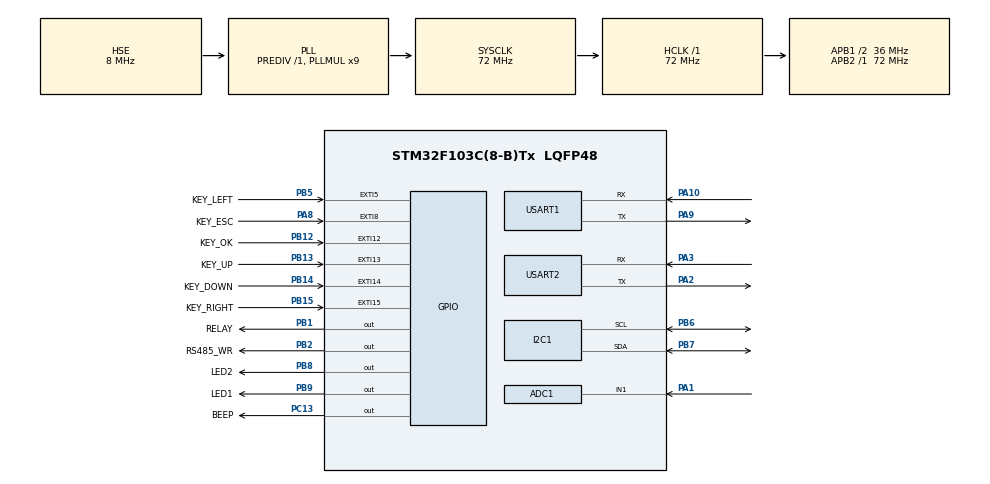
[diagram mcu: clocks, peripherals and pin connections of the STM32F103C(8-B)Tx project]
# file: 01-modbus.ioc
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ADC1.Channel-6\#ChannelRegularConversion=ADC_CHANNEL_TEMPSENSOR
ADC1.NbrOfConversionFlag=1
ADC1.Rank-6\#ChannelRegularConversion=1
ADC1.SamplingTime-6\#ChannelRegularConversion=ADC_SAMPLETIME_239CYCLES_5
ADC1.master=1
Mcu.Family=STM32F1
Mcu.Name=STM32F103C(8-B)Tx
Mcu.Package=LQFP48
NVIC.EXTI15_10_IRQn=true\:0\:0\:true\:false\:true\:true\:true\:true
NVIC.EXTI9_5_IRQn=true\:0\:0\:true\:false\:true\:true\:true\:true
NVIC.PriorityGroup=NVIC_PRIORITYGROUP_4
NVIC.TIM1_UP_IRQn=true\:0\:0\:false\:false\:true\:true\:true\:true
NVIC.TIM3_IRQn=true\:2\:0\:true\:false\:false\:true\:true\:true
NVIC.USART2_IRQn=true\:0\:0\:false\:false\:false\:true\:true\:true
PA1.Signal=ADCx_IN1
PA10.Mode=Asynchronous
PA10.Signal=USART1_RX
PA13.Mode=Serial_Wire
PA13.Signal=SYS_JTMS-SWDIO
PA14.Mode=Serial_Wire
PA14.Signal=SYS_JTCK-SWCLK
PA2.Mode=Asynchronous
PA2.Signal=USART2_TX
PA3.Mode=Asynchronous
PA3.Signal=USART2_RX
PA8.GPIO_Label=KEY_ESC
PA8.GPIO_ModeDefaultEXTI=GPIO_MODE_IT_FALLING
PA8.GPIO_PuPd=GPIO_PULLUP
PA8.Signal=GPXTI8
PA9.Mode=Asynchronous
PA9.Signal=USART1_TX
PB1.GPIO_Label=RELAY
PB1.Signal=GPIO_Output
PB12.GPIO_Label=KEY_OK
PB12.GPIO_ModeDefaultEXTI=GPIO_MODE_IT_FALLING
PB12.GPIO_PuPd=GPIO_PULLUP
PB12.Signal=GPXTI12
PB13.GPIO_Label=KEY_UP
PB13.GPIO_ModeDefaultEXTI=GPIO_MODE_IT_FALLING
PB13.GPIO_PuPd=GPIO_PULLUP
PB13.Signal=GPXTI13
PB14.GPIO_Label=KEY_DOWN
PB14.GPIO_ModeDefaultEXTI=GPIO_MODE_IT_FALLING
PB14.GPIO_PuPd=GPIO_PULLUP
PB14.Signal=GPXTI14
PB15.GPIO_Label=KEY_RIGHT
PB15.GPIO_ModeDefaultEXTI=GPIO_MODE_IT_FALLING
PB15.GPIO_PuPd=GPIO_PULLUP
PB15.Signal=GPXTI15
PB2.GPIO_Label=RS485_WR
PB2.GPIO_Speed=GPIO_SPEED_FREQ_MEDIUM
PB2.Signal=GPIO_Output
PB5.GPIO_Label=KEY_LEFT
PB5.GPIO_ModeDefaultEXTI=GPIO_MODE_IT_FALLING
PB5.GPIO_PuPd=GPIO_PULLUP
PB5.Signal=GPXTI5
PB6.Mode=I2C
PB6.Signal=I2C1_SCL
PB7.Mode=I2C
PB7.Signal=I2C1_SDA
PB8.GPIO_Label=LED2
PB8.PinState=GPIO_PIN_SET
PB8.Signal=GPIO_Output
PB9.GPIO_Label=LED1
PB9.PinState=GPIO_PIN_SET
PB9.Signal=GPIO_Output
PC13-TAMPER-RTC.GPIO_Label=BEEP
PC13-TAMPER-RTC.Signal=GPIO_Output
PC14-OSC32_IN.Mode=LSE-External-Oscillator
PC14-OSC32_IN.Signal=RCC_OSC32_IN
PC15-OSC32_OUT.Mode=LSE-External-Oscillator
PC15-OSC32_OUT.Signal=RCC_OSC32_OUT
PD0-OSC_IN.Mode=HSE-External-Oscillator
PD0-OSC_IN.Signal=RCC_OSC_IN
PD1-OSC_OUT.Mode=HSE-External-Oscillator
PD1-OSC_OUT.Signal=RCC_OSC_OUT
ProjectManager.HeapSize=0x200
ProjectManager.StackSize=0x400
ProjectManager.TargetToolchain=MDK-ARM V5.32
RCC.ADCPresc=RCC_ADCPCLK2_DIV6
RCC.AHBFreq_Value=72000000
RCC.APB1CLKDivider=RCC_HCLK_DIV2
RCC.APB1Freq_Value=36000000
RCC.APB1TimFreq_Value=72000000
RCC.APB2Freq_Value=72000000
RCC.APB2TimFreq_Value=72000000
RCC.HCLKFreq_Value=72000000
RCC.PLLMUL=RCC_PLL_MUL9
RCC.PLLSourceVirtual=RCC_PLLSOURCE_HSE
RCC.RTCClockSelection=RCC_RTCCLKSOURCE_LSE
RCC.SYSCLKFreq_VALUE=72000000
RCC.SYSCLKSource=RCC_SYSCLKSOURCE_PLLCLK
RCC.USBFreq_Value=72000000
SH.ADCx_IN1.0=ADC1_IN1,IN1
TIM1.AutoReloadPreload=TIM_AUTORELOAD_PRELOAD_ENABLE
TIM1.Period=5000
TIM1.Prescaler=7200-1
TIM3.AutoReloadPreload=TIM_AUTORELOAD_PRELOAD_ENABLE
TIM3.Period=100
TIM3.Prescaler=3599
USART1.VirtualMode=VM_ASYNC
USART2.VirtualMode=VM_ASYNC
VP_ADC1_TempSens_Input.Mode=IN-TempSens
VP_TIM1_VS_ClockSourceINT.Mode=Internal
VP_TIM3_VS_ClockSourceINT.Mode=Internal
board=custom

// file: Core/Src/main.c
/* USER CODE BEGIN Header */
/**
  ******************************************************************************
  * @file           : main.c
  * @brief          : Main program body
  ******************************************************************************
  * @attention
  *
  * Copyright (c) 2025 STMicroelectronics.
  * All rights reserved.
  *
  * This software is licensed under terms that can be found in the LICENSE file
  * in the root directory of this software component.
  * If no LICENSE file comes with this software, it is provided AS-IS.
  *
  ******************************************************************************
  */
/* USER CODE END Header */
#include "main.h"
#include "adc.h"
#include "i2c.h"
#include "tim.h"
#include "usart.h"
#include "gpio.h"

/* USER CODE BEGIN Includes */
#include <stdio.h>
#include "oled.h"
#include "aht20.h"
#include "ina226.h"
#include "mb.h"
#include "modbus.h"
/* USER CODE END Includes */

void SystemClock_Config(void);

int main(void)
{

  /* MCU Configuration--------------------------------------------------------*/

  /* Reset of all peripherals, Initializes the Flash interface and the Systick. */
  HAL_Init();

  /* Configure the system clock */
  SystemClock_Config();

  /* Initialize all configured peripherals */
  MX_GPIO_Init();
  MX_USART1_UART_Init();
  MX_I2C1_Init();
  MX_ADC1_Init();
  MX_TIM3_Init();
  MX_USART2_UART_Init();
  MX_TIM1_Init();
  /* USER CODE BEGIN 2 */
	printf("Uart1 init is ok\n");
	printf("Modbus Test\n");

	//EEPROM_Test();
	OLED_Init();
	OLED_CLS(); // 清除屏幕显示
	OLED_ShowStr(16,0, (unsigned char*)"Modbus Control", 2);
	AHT20_Init();
	INA226_Init();

	HAL_TIM_Base_Start_IT(&htim1);

	Modbus_Init();
  /* USER CODE END 2 */

  /* Infinite loop */
  /* USER CODE BEGIN WHILE */
  while (1)
  {
		//LED_Test();
		//BEEP_Test();
		//RELAY_Test();
		//KEY_Test();
		//OLED_Test();
		//AHT20_Test();
		//INA226_Test();
		//IWDG_Test();
		//RTC_Test();
		//ADC_VR_Test();
		//ADC_CPU_Test();
		//ADC_VR_CPU_Test();
		eMBPoll();// 轮训查询
		Modbus_Parse(); // 500ms 周期性刷新

    /* USER CODE END WHILE */

  }
}

void SystemClock_Config(void)
{
  RCC_OscInitTypeDef RCC_OscInitStruct = {0};
  RCC_ClkInitTypeDef RCC_ClkInitStruct = {0};
  RCC_PeriphCLKInitTypeDef PeriphClkInit = {0};

  /** Initializes the RCC Oscillators according to the specified parameters
  * in the RCC_OscInitTypeDef structure.
  */
  RCC_OscInitStruct.OscillatorType = RCC_OSCILLATORTYPE_HSE;
  RCC_OscInitStruct.HSEState = RCC_HSE_ON;
  RCC_OscInitStruct.HSEPredivValue = RCC_HSE_PREDIV_DIV1;
  RCC_OscInitStruct.HSIState = RCC_HSI_ON;
  RCC_OscInitStruct.PLL.PLLState = RCC_PLL_ON;
  RCC_OscInitStruct.PLL.PLLSource = RCC_PLLSOURCE_HSE;
  RCC_OscInitStruct.PLL.PLLMUL = RCC_PLL_MUL9;
  if (HAL_RCC_OscConfig(&RCC_OscInitStruct) != HAL_OK)
  {
    Error_Handler();
  }

  /** Initializes the CPU, AHB and APB buses clocks
  */
  RCC_ClkInitStruct.ClockType = RCC_CLOCKTYPE_HCLK|RCC_CLOCKTYPE_SYSCLK
                              |RCC_CLOCKTYPE_PCLK1|RCC_CLOCKTYPE_PCLK2;
  RCC_ClkInitStruct.SYSCLKSource = RCC_SYSCLKSOURCE_PLLCLK;
  RCC_ClkInitStruct.AHBCLKDivider = RCC_SYSCLK_DIV1;
  RCC_ClkInitStruct.APB1CLKDivider = RCC_HCLK_DIV2;
  RCC_ClkInitStruct.APB2CLKDivider = RCC_HCLK_DIV1;

  if (HAL_RCC_ClockConfig(&RCC_ClkInitStruct, FLASH_LATENCY_2) != HAL_OK)
  {
    Error_Handler();
  }
  PeriphClkInit.PeriphClockSelection = RCC_PERIPHCLK_ADC;
  PeriphClkInit.AdcClockSelection = RCC_ADCPCLK2_DIV6;
  if (HAL_RCCEx_PeriphCLKConfig(&PeriphClkInit) != HAL_OK)
  {
    Error_Handler();
  }
}

void Error_Handler(void)
{
  __disable_irq();
  while (1)
  {
  }
}
